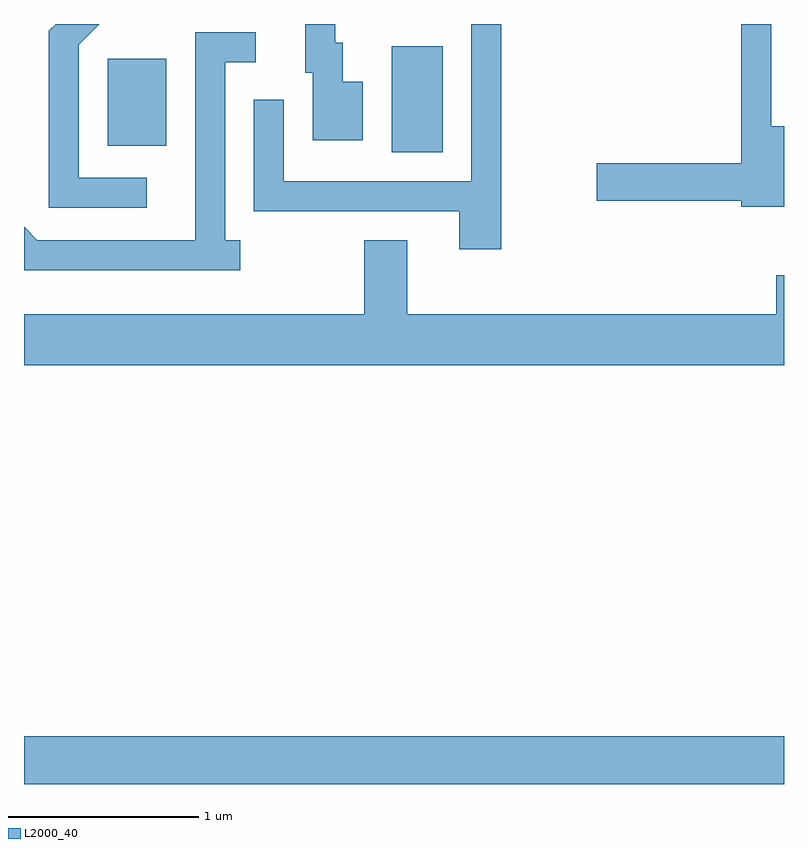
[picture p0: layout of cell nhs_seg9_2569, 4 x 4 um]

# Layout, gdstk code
import gdstk
lib = gdstk.Library(unit=1e-6, precision=1e-09)
def R(c, l, rs):  # rectangles x0, y0, x1, y1
    for r in rs: c.add(gdstk.rectangle(r[:2], r[2:], *l))
def P(c, l, *ps):  # polygons
    for p in ps: c.add(gdstk.Polygon(p, *l))
L2000_40 = (2000, 40)

nhs_seg9_2569 = lib.new_cell('nhs_seg9_2569')
R(nhs_seg9_2569, L2000_40, [(259.611,2058.432,263.611,2058.684), (261.546,2061.756,261.814,2062.314), (260.051,2061.791,260.359,2062.249)])
P(nhs_seg9_2569, L2000_40, [(262.124,2062.432),(261.966,2062.432),(261.966,2061.604),(260.979,2061.604),(260.979,2062.033),(260.821,2062.033),(260.821,2061.446),(261.901,2061.446),(261.901,2061.246),(262.124,2061.246)],
  [(260.258,2061.624),(259.899,2061.624),(259.899,2062.324),(260.007,2062.432),(259.777,2062.432),(259.741,2062.396),(259.741,2061.466),(260.258,2061.466)],
  [(261.394,2062.129),(261.289,2062.129),(261.289,2062.334),(261.249,2062.334),(261.249,2062.432),(261.091,2062.432),(261.091,2062.176),(261.131,2062.176),(261.131,2061.821),(261.394,2061.821)],
  [(263.611,2061.894),(263.544,2061.894),(263.544,2062.432),(263.386,2062.432),(263.386,2061.699),(262.626,2061.699),(262.626,2061.501),(263.386,2061.501),(263.386,2061.471),(263.611,2061.471)],
  [(260.748,2061.294),(260.669,2061.294),(260.669,2062.231),(260.832,2062.231),(260.832,2062.389),(260.511,2062.389),(260.511,2061.294),(259.682,2061.294),(259.611,2061.365),(259.611,2061.136),(260.748,2061.136)],
  [(263.611,2061.109),(263.571,2061.109),(263.571,2060.904),(261.629,2060.904),(261.629,2061.294),(261.401,2061.294),(261.401,2060.904),(259.611,2060.904),(259.611,2060.636),(263.611,2060.636)])

lib.write_gds('nhs_seg9_2569.gds')
